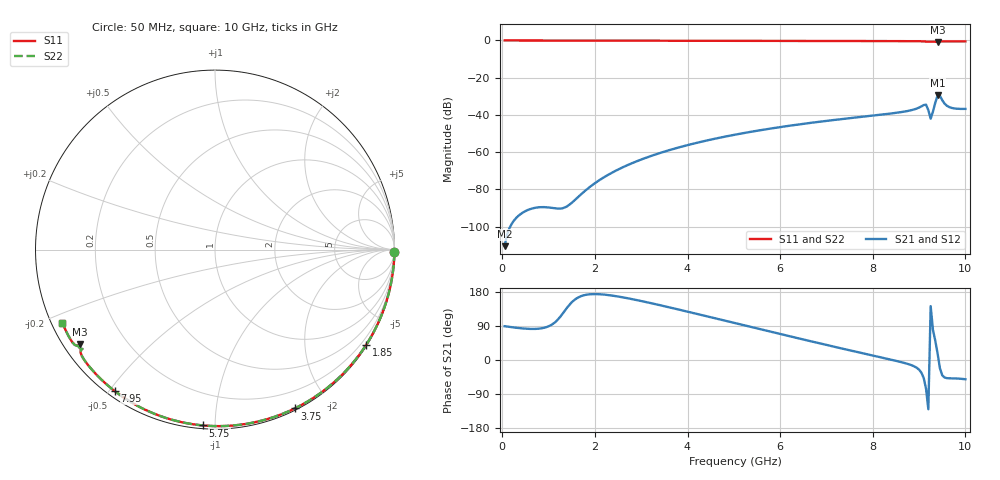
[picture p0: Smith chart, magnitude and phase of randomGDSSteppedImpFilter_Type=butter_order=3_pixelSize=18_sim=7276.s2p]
! freq	dB(S11)	phase(S11)	dB(S12)	phase(S12)
!  dB(S21)	phase(S21)	dB(S22)	phase(S22)
!S-par simulation data
#  GHz  S  DB  R 50
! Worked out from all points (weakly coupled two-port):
!   200 points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, 50 MHz to 10 GHz, reference 50 ohm
!   highest |S21| = -29.54 dB at 9.4 GHz (marker M1); lowest = -110.6 dB at 50 MHz (marker M2)
!   lowest |S11| = -0.8 dB at 9.4 GHz (marker M3), VSWR 22.95, Z = 2.39 - j15.8 ohm
!   |S11| at or under -10 dB: nowhere
!   |S22| runs from -0.7 to 0.0 dB; largest |S21 - S12| = 0
!   S11 on the Smith chart (normalised r, x): 50 MHz: open; 1.85 GHz: 0.03, -3.47; 3.75 GHz: 0.02, -1.62; 5.75 GHz: 0.02, -0.93; 7.95 GHz: 0.02, -0.52; 10 GHz: 0.03, -0.23
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0.05  -0.00 -0.9  -110.55 89.1  -110.55 89.1  -0.00 -0.9
0.9  -0.02 -15.8  -89.56 84.9  -89.56 84.9  -0.02 -15.8
1.75  -0.04 -30.4  -81.61 170.4  -81.61 170.4  -0.04 -30.4
1.85  -0.04 -32.1  -79.53 172.9  -79.53 172.9  -0.04 -32.1
2.15  -0.05 -37.2  -74.22 173.1  -74.22 173.1  -0.05 -37.2
2.5  -0.05 -43.0  -69.37 167.6  -69.37 167.6  -0.05 -43.0
3.4  -0.08 -57.8  -60.52 144.8  -60.52 144.8  -0.08 -57.8
3.75  -0.09 -63.4  -57.92 134.9  -57.92 134.9  -0.09 -63.4
5.05  -0.13 -83.5  -50.52 96.6  -50.52 96.6  -0.13 -83.4
5.75  -0.16 -93.9  -47.52 76.0  -47.52 76.0  -0.16 -93.8
6.7  -0.21 -107.6  -44.16 48.3  -44.16 48.3  -0.21 -107.6
7.95  -0.30 -125.3  -40.53 13.1  -40.53 13.1  -0.30 -125.3
8.35  -0.34 -131.0  -39.39 2.1  -39.39 2.1  -0.34 -131.0
8.85  -0.40 -138.3  -37.36 -14.4  -37.36 -14.4  -0.40 -138.3
9.15  -0.60 -143.2  -34.50 -75.6  -34.50 -75.6  -0.62 -143.2
9.2  -0.68 -143.2  -37.48 -130.0  -37.48 -130.0  -0.71 -143.1
9.25  -0.63 -143.5  -42.07 142.1  -42.07 142.1  -0.64 -143.3
9.4  -0.76 -145.0  -29.54 17.0  -29.54 17.0  -0.73 -144.8
9.45  -0.61 -144.7  -29.71 -21.9  -29.71 -21.9  -0.59 -144.8
9.55  -0.47 -146.9  -33.92 -46.2  -33.92 -46.2  -0.47 -146.9
9.65  -0.47 -148.7  -35.79 -48.3  -35.79 -48.3  -0.46 -148.7
10  -0.51 -154.3  -36.79 -50.8  -36.79 -50.8  -0.51 -154.3
